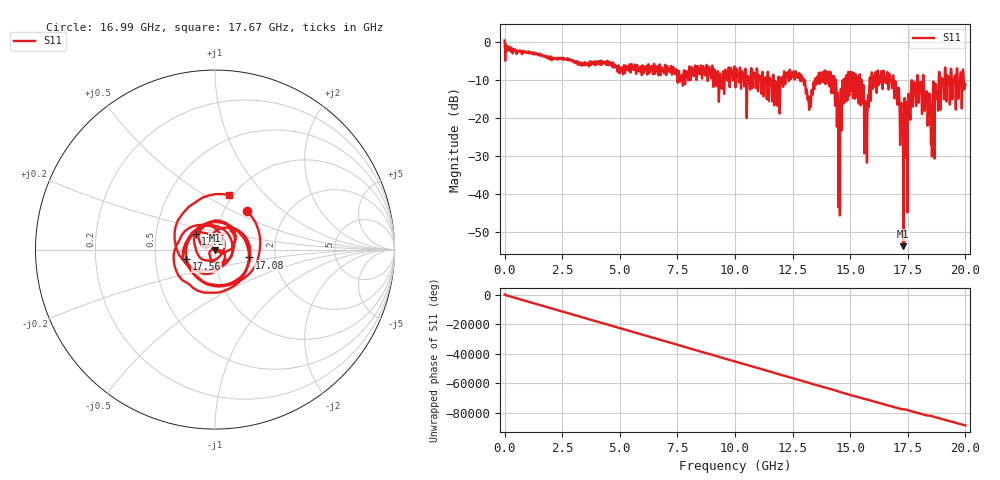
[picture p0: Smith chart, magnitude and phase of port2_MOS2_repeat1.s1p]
! MS46122B
! 2250307/22442219
! 7/22/2025 7:54:44 AM
! C:\USERS\SPARKY\DOCUMENTS\VNA_DATA\JULY22_2025\3K\PORT2_MOS2_REPEAT1.S1P
! CHANNEL.1
! TR.MEASUREMENT
! RAW.DATA
# GHZ S RI R 50.0
! FREQ.GHZ  S11RE  S11IM
!; PortSelection: Port_1
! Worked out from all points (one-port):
!   10001 points, 1 MHz to 20 GHz, reference 50 ohm
!   lowest |S11| = -53.6 dB at 17.31 GHz (marker M1), VSWR 1.00, Z = 49.9 - j0.194 ohm
!   |S11| at or under -10 dB: 13.03 GHz to 13.47 GHz (435.7 MHz wide, 3.29 % of centre); 16.89 GHz to 17.9 GHz (1.014 GHz wide, 5.83 % of centre); 18.19 GHz to 18.84 GHz (651.2 MHz wide, 3.52 % of centre) (the widest 3 of 89)
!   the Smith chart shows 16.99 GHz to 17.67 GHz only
!   S11 on the Smith chart (normalised r, x): 16.99 GHz: 1.28, +0.59; 17.08 GHz: 1.46, -0.13; 17.2 GHz: 0.79, +0.14; 17.56 GHz: 0.72, -0.08; 17.67 GHz: 0.95, +0.65
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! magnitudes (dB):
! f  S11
! 1 MHz  0.4
! 2.501 GHz  -4.3
! 5.001 GHz  -7.8
! 7.501 GHz  -10.1
! 10 GHz  -9.1
! 11.86 GHz  -13.5
! 12.5 GHz  -9.0
! 12.95 GHz  -9.5
! 13.22 GHz  -17.7
! 13.56 GHz  -9.1
! 14.06 GHz  -7.9
! 14.55 GHz  -24.9
! 14.75 GHz  -9.6
! 15 GHz  -7.9
! 15.49 GHz  -10.2
! 15.7 GHz  -17.4
! 16.02 GHz  -8.9
! 16.99 GHz  -11.1
! 17.08 GHz  -14.2
! 17.2 GHz  -17.1
! 17.31 GHz  -53.6
! 17.5 GHz  -18.4
! 17.56 GHz  -15.5
! 17.67 GHz  -10.1
! 18.1 GHz  -15.1
! 18.46 GHz  -14.6
! 19.05 GHz  -11.2
! 20 GHz  -11.3
